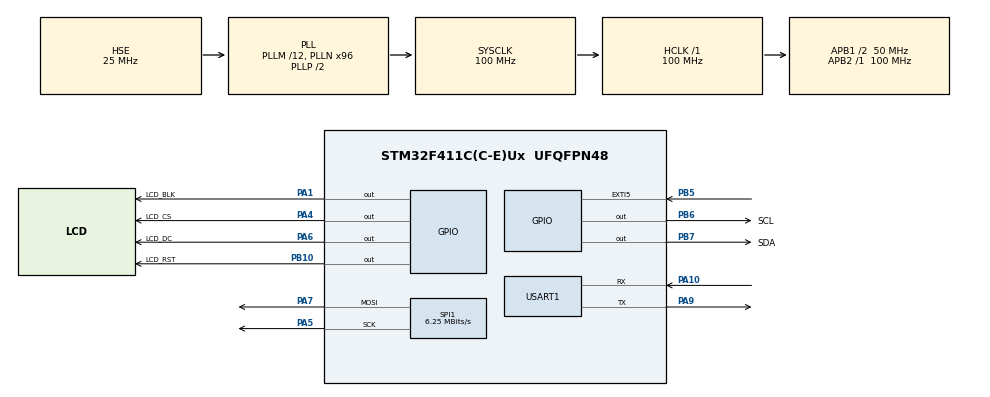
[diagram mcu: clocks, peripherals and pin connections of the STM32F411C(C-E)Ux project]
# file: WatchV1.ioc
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Dma.Request0=USART1_RX
Dma.USART1_RX.0.Direction=DMA_PERIPH_TO_MEMORY
Dma.USART1_RX.0.FIFOMode=DMA_FIFOMODE_DISABLE
Dma.USART1_RX.0.Instance=DMA2_Stream2
Dma.USART1_RX.0.MemDataAlignment=DMA_MDATAALIGN_BYTE
Dma.USART1_RX.0.MemInc=DMA_MINC_ENABLE
Dma.USART1_RX.0.Mode=DMA_CIRCULAR
Dma.USART1_RX.0.PeriphDataAlignment=DMA_PDATAALIGN_BYTE
Dma.USART1_RX.0.PeriphInc=DMA_PINC_DISABLE
Dma.USART1_RX.0.Priority=DMA_PRIORITY_LOW
FREERTOS.Tasks01=defaultTask,24,128,StartDefaultTask,Default,NULL,Dynamic,NULL,NULL
Mcu.Family=STM32F4
Mcu.Name=STM32F411C(C-E)Ux
Mcu.Package=UFQFPN48
NVIC.DMA2_Stream2_IRQn=true\:5\:0\:false\:false\:true\:true\:false\:true\:true
NVIC.EXTI9_5_IRQn=true\:5\:0\:true\:false\:true\:true\:true\:true\:true
NVIC.PriorityGroup=NVIC_PRIORITYGROUP_4
NVIC.TIM1_UP_TIM10_IRQn=true\:15\:0\:false\:false\:true\:false\:false\:true\:true
NVIC.TimeBase=TIM1_UP_TIM10_IRQn
NVIC.TimeBaseIP=TIM1
NVIC.USART1_IRQn=true\:5\:0\:false\:false\:true\:true\:true\:true\:true
PA1.GPIO_Label=LCD_BLK
PA1.Signal=GPIO_Output
PA10.Mode=Asynchronous
PA10.Signal=USART1_RX
PA13.Mode=Serial_Wire
PA13.Signal=SYS_JTMS-SWDIO
PA14.Mode=Serial_Wire
PA14.Signal=SYS_JTCK-SWCLK
PA4.GPIO_Label=LCD_CS
PA4.GPIO_Speed=GPIO_SPEED_FREQ_VERY_HIGH
PA4.PinState=GPIO_PIN_SET
PA4.Signal=GPIO_Output
PA5.Mode=TX_Only_Simplex_Unidirect_Master
PA5.Signal=SPI1_SCK
PA6.GPIO_Label=LCD_DC
PA6.GPIO_Speed=GPIO_SPEED_FREQ_VERY_HIGH
PA6.Signal=GPIO_Output
PA7.Mode=TX_Only_Simplex_Unidirect_Master
PA7.Signal=SPI1_MOSI
PA9.Mode=Asynchronous
PA9.Signal=USART1_TX
PB10.GPIO_Label=LCD_RST
PB10.GPIO_ModeDefaultOutputPP=GPIO_MODE_OUTPUT_PP
PB10.GPIO_PuPd=GPIO_NOPULL
PB10.GPIO_Speed=GPIO_SPEED_FREQ_VERY_HIGH
PB10.PinState=GPIO_PIN_SET
PB10.Signal=GPIO_Output
PB5.GPIO_ModeDefaultEXTI=GPIO_MODE_IT_RISING
PB5.Signal=GPXTI5
PB6.GPIO_Label=SCL
PB6.GPIO_ModeDefaultOutputPP=GPIO_MODE_OUTPUT_OD
PB6.GPIO_PuPd=GPIO_PULLUP
PB6.GPIO_Speed=GPIO_SPEED_FREQ_HIGH
PB6.PinState=GPIO_PIN_SET
PB6.Signal=GPIO_Output
PB7.GPIO_Label=SDA
PB7.GPIO_ModeDefaultOutputPP=GPIO_MODE_OUTPUT_OD
PB7.GPIO_PuPd=GPIO_PULLUP
PB7.GPIO_Speed=GPIO_SPEED_FREQ_HIGH
PB7.PinState=GPIO_PIN_SET
PB7.Signal=GPIO_Output
PH0\ -\ OSC_IN.Mode=HSE-External-Oscillator
PH0\ -\ OSC_IN.Signal=RCC_OSC_IN
PH1\ -\ OSC_OUT.Mode=HSE-External-Oscillator
PH1\ -\ OSC_OUT.Signal=RCC_OSC_OUT
ProjectManager.HeapSize=0x200
ProjectManager.StackSize=0x400
ProjectManager.TargetToolchain=MDK-ARM V5.32
RCC.48MHZClocksFreq_Value=50000000
RCC.AHBFreq_Value=100000000
RCC.APB1CLKDivider=RCC_HCLK_DIV2
RCC.APB1Freq_Value=50000000
RCC.APB1TimFreq_Value=100000000
RCC.APB2Freq_Value=100000000
RCC.APB2TimFreq_Value=100000000
RCC.CortexFreq_Value=100000000
RCC.HCLKFreq_Value=100000000
RCC.HSE_VALUE=25000000
RCC.HSI_VALUE=16000000
RCC.LSE_VALUE=32768
RCC.PLLM=12
RCC.PLLN=96
RCC.PLLSourceVirtual=RCC_PLLSOURCE_HSE
RCC.SYSCLKFreq_VALUE=100000000
RCC.SYSCLKSource=RCC_SYSCLKSOURCE_PLLCLK
RCC.VCOOutputFreq_Value=200000000
SPI1.BaudRatePrescaler=SPI_BAUDRATEPRESCALER_16
SPI1.CLKPhase=SPI_PHASE_2EDGE
SPI1.CLKPolarity=SPI_POLARITY_HIGH
SPI1.CalculateBaudRate=6.25 MBits/s
SPI1.Direction=SPI_DIRECTION_2LINES
SPI1.Mode=SPI_MODE_MASTER
SPI1.VirtualType=VM_MASTER
USART1.VirtualMode=VM_ASYNC
VP_FREERTOS_VS_CMSIS_V2.Mode=CMSIS_V2
VP_SYS_VS_tim1.Mode=TIM1
board=custom

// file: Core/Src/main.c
/* USER CODE BEGIN Header */
/**
  ******************************************************************************
  * @file           : main.c
  * @brief          : Main program body
  ******************************************************************************
  * @attention
  *
  * Copyright (c) 2026 STMicroelectronics.
  * All rights reserved.
  *
  * This software is licensed under terms that can be found in the LICENSE file
  * in the root directory of this software component.
  * If no LICENSE file comes with this software, it is provided AS-IS.
  *
  ******************************************************************************
  */
/* USER CODE END Header */
#include "main.h"
#include "cmsis_os.h"
#include "dma.h"
#include "spi.h"
#include "usart.h"
#include "gpio.h"

/* USER CODE BEGIN Includes */
#include "SEGGER_RTT.h"
#include <stdio.h>
#include "lcd.h"
#include "aht21.h"
#include "soft_i2c.h"
#include "aht21_handler.h"
#include "mpu6050.h"
#include "mpu6050_handler.h"

/* USER CODE END Includes */

/* USER CODE BEGIN PD */
#define MPU6050_ADDR7              0x68
/* USER CODE END PD */

void SystemClock_Config(void);
void MX_FREERTOS_Init(void);

/* USER CODE BEGIN 0 */
/* 打印一次温湿度：RTT 不支持 %f → ×10 拆整数（这是【显示层】的活儿）
 * tag：数据新鲜度标注 —— "" = 新鲜；" [stale]" = 用的是上次缓存 */
//static void print_temp_humi(float t, float h, const char *tag)
//{

//	int32_t h_x10 = (int32_t)(h * 10.0f);
//		int32_t t_x10 = (int32_t)(t * 10.0f);
//		int32_t t_abs = (t_x10 < 0) ? -t_x10 : t_x10;      /* 负数单独取符号 */
//
//	SEGGER_RTT_printf(0, "H = %d.%d %%   T = %s%d.%d C%s\r\n",
//						h_x10 / 10, h_x10 % 10,
//							(t_x10 < 0) ? "-" : "", t_abs / 10, t_abs % 10,
//              tag);
//}
/* ── MPU6050 显示层（RTT 没有 %f，浮点要自己拆）────────────────── */

/* 把一个 float 按 ×10 打成 "名字=±整数.小数"
 *   套路同 W4：先取绝对值再拆，符号单独打（负数 % 在 C 里是负数） */
static void rtt_print_f10(const char *name, float v)
{
    int32_t x10 = (int32_t)(v * 10.0f);
    int32_t a   = (x10 < 0) ? -x10 : x10;

    SEGGER_RTT_printf(0, "%s=%s%d.%d ", name,
                      (x10 < 0) ? "-" : "", (int)(a / 10), (int)(a % 10));
}

/* 打印一次 6 轴 + 温度：raw 与换算值都打
 *   raw 用 %d 直接打 —— 它是核对"地址自增"和"量程配对"的原始证据
 * tag：数据新鲜度标注 —— "" = 新鲜；" [stale]" = 用的是上次缓存 */
static void print_mpu6050(const mpu6050_data_t *d, const char *tag)
{
    SEGGER_RTT_printf(0, "RAW  ax=%6d ay=%6d az=%6d temp=%6d gx=%6d gy=%6d gz=%6d\r\n",
                      d->raw.ax, d->raw.ay, d->raw.az, d->raw.temp,
                      d->raw.gx, d->raw.gy, d->raw.gz);

    SEGGER_RTT_printf(0, "CONV ");
    rtt_print_f10("ax",   d->conv.ax_g);
    rtt_print_f10("ay",   d->conv.ay_g);
    rtt_print_f10("az",   d->conv.az_g);
    rtt_print_f10("temp", d->conv.temp_c);
    rtt_print_f10("gx",   d->conv.gx_dps);
    rtt_print_f10("gy",   d->conv.gy_dps);
    rtt_print_f10("gz",   d->conv.gz_dps);
    SEGGER_RTT_printf(0, "%s\r\n", tag);
}

/* USER CODE END 0 */

int main(void)
{

  /* MCU Configuration--------------------------------------------------------*/

  /* Reset of all peripherals, Initializes the Flash interface and the Systick. */
  HAL_Init();

  /* Configure the system clock */
  SystemClock_Config();

  /* Initialize all configured peripherals */
  MX_GPIO_Init();
  MX_DMA_Init();
  MX_USART1_UART_Init();
  MX_SPI1_Init();
  /* USER CODE BEGIN 2 */
  i2c_gpio_init();         /* ⚠️ 必须留在 USER CODE 区：把 PB7/PB8  覆盖成开漏（放生成区会被 CubeMX 删掉） */

  SEGGER_RTT_Init();                            /* 先把日志起起来（下面才好打） */
  SEGGER_RTT_printf(0, "--- boot ---\r\n");

  mpu6050_handler_set_delay(HAL_Delay);      /* ← 把平台的延时接给 handler */

  /* MPU6050 上电初始化 —— 【开机只做一次】
   *   ⚠️ 它内部会复位器件 ⇒ 放进主循环 = 每秒把器件打回睡眠
   *   失败要打【错误码】：1=NACK（总线不通） 2=ID 不符（不是 6050） 3=BUSY（复位没等到） */
  mpu6050_err_t init_ret = mpu6050_init();
  if (init_ret != MPU6050_OK)
  {
    SEGGER_RTT_printf(0, "MPU6050 init fail = %d\r\n", init_ret);
  }

  mpu6050_data_t mpu;      /* 出参实例：栈上开一次，主循环里反复复用 */

  /* 打印限流用（放 while 外面 —— 放循环体里每次都"看起来"重置，骗读代码的人）*/
  static uint32_t last_print_ms = 0;

  /*  I2C器件扫描   */
  uint8_t found[8];
  uint8_t n = i2c_scan(found, sizeof(found));

  SEGGER_RTT_printf(0, "[SCAN] scanned 0x%02X~0x%02X, found %d\r\n",
                    I2C_ADDR7_SCAN_MIN, I2C_ADDR7_SCAN_MAX, (int)n);
  for (uint8_t i = 0; i < n && i < sizeof(found); i++)
  {
    SEGGER_RTT_printf(0, "[SCAN] found 0x%02X\r\n", found[i]);
  }

//  I2C_Scan();
//  uint8_t val = 0xA5;
//  uint8_t rd  = 0x00;
//  HAL_I2C_Mem_Write(&hi2c1, 0xA0, 0x00, I2C_MEMADD_SIZE_8BIT, &val, 1, 100);
//  HAL_Delay(10);
//  HAL_I2C_Mem_Read(&hi2c1, 0xA0, 0x00, I2C_MEMADD_SIZE_8BIT, &rd, 1, 100);

//  SEGGER_RTT_printf(0, "EEPROM write=0x%02X read=0x%02X -> %s\r\n",
//                  val, rd, (rd == val) ? "OK" : "FAIL");

//    /* ---- W1 块 2：点亮屏 ---- */
  LCD_Init();                                            /* ③ 屏初始化 */
  SEGGER_RTT_printf(0, "LCD init done\r\n");

  LCD_Backlight(1);                                      /* ④ 背光开启 */
  /* ⑤ 显示已交给 LVGL（2026-11-16 起）：
     界面在 freertos.c 的 StartLvglTask 里建，这里只保留"硬件准备好"这一步。
     原来的四色轮播 + DrawString 冒烟测试已删除——它们会和 LVGL 抢屏。
     底层冒烟手段仍在：LCD_FillScreen / LCD_DrawString / LCD_BlitArea 都还能单独调。 */
  /* USER CODE END 2 */

  /* Init scheduler */
  osKernelInitialize();

  /* Call init function for freertos objects (in cmsis_os2.c) */
  MX_FREERTOS_Init();

  /* Start scheduler */
  osKernelStart();

  /* We should never get here as control is now taken by the scheduler */

  /* Infinite loop */
  while (1)
  {

    /* USER CODE BEGIN 3 */
      /* 中断驱动：有新数据才读（标志由 HAL_GPIO_EXTI_Callback → notify() 置）
       *   没新数据      → H_NO_DATA 不读、不打，立刻下一圈
       *   正常          → H_OK      新鲜数据，照打
       *   连续失败 < 5  → H_STALE   给上次缓存，标注 [stale]
       *   连续失败 ≥ 5  → H_OFFLINE 旧数据已撤，明确报失联
       *   参数错        → H_PARAM   （本处不会触发） */
      // mpu6050_handler_status_t hs = mpu6050_handler_read_if_new(&mpu);

      // if (MPU6050_H_NO_DATA == hs)
      // {
      //   continue;                       /* ← 最常走的路：没新数据 */
      // }

      // /* 打印限流：中断 100Hz，不能每次打（否则 1 秒 100 行刷屏）
      //  *   ⚠️ 只拦"打印"，不拦"读" —— 若让主循环变慢，标志又会恒为 1 ⇒ 退回轮询 */
      // if ((HAL_GetTick() - last_print_ms) < 200)
      // {
      //   continue;
      // }
      // last_print_ms = HAL_GetTick();

      // switch (hs)
      // {
      //   case MPU6050_H_OK:
      //     print_mpu6050(&mpu, "");
      //     break;

      //   case MPU6050_H_STALE:
      //     print_mpu6050(&mpu, " [stale]");
      //     break;

      //   case MPU6050_H_OFFLINE:
      //     SEGGER_RTT_printf(0, "MPU6050 OFFLINE\r\n");
      //     break;

      //   case MPU6050_H_PARAM:
      //     SEGGER_RTT_printf(0, "MPU6050 param error\r\n");
      //     break;

      //   default:
      //     break;
      // }

	    // hs = aht21_handler_read(&t, &h);

	    // switch (hs)
	    // {
	    // 	case AHT21_H_OK:
	    // 		/* 新鲜数据：照老样子打印 */
	    // 	print_temp_humi(t, h, "");          /* 新鲜数据 */
	    // 		break;

	    // 	case AHT21_H_STALE:
	    // 		/* 旧数据：数据照样打，后面加个标记 */
	    // 		/* 旧数据：照打，只多一个 [stale] 标注 */
	    // 	print_temp_humi(t, h, " [stale]");  /* 这次没读到 → 给的是上次缓存 */
	    // 		break;

	    // 	case AHT21_H_OFFLINE:
	    // 		SEGGER_RTT_printf(0, "AHT21 OFFLINE\r\n");
	    // 		break;

	    // 	case AHT21_H_PARAM:
	    // 		SEGGER_RTT_printf(0, "AHT21 param error\r\n");
	    // 		break;

	    // 	default:
	    // 		break;
	    // }

  }

  /* USER CODE END 3 */
}

void SystemClock_Config(void)
{
  RCC_OscInitTypeDef RCC_OscInitStruct = {0};
  RCC_ClkInitTypeDef RCC_ClkInitStruct = {0};

  /** Configure the main internal regulator output voltage
  */
  __HAL_RCC_PWR_CLK_ENABLE();
  __HAL_PWR_VOLTAGESCALING_CONFIG(PWR_REGULATOR_VOLTAGE_SCALE1);

  /** Initializes the RCC Oscillators according to the specified parameters
  * in the RCC_OscInitTypeDef structure.
  */
  RCC_OscInitStruct.OscillatorType = RCC_OSCILLATORTYPE_HSE;
  RCC_OscInitStruct.HSEState = RCC_HSE_ON;
  RCC_OscInitStruct.PLL.PLLState = RCC_PLL_ON;
  RCC_OscInitStruct.PLL.PLLSource = RCC_PLLSOURCE_HSE;
  RCC_OscInitStruct.PLL.PLLM = 12;
  RCC_OscInitStruct.PLL.PLLN = 96;
  RCC_OscInitStruct.PLL.PLLP = RCC_PLLP_DIV2;
  RCC_OscInitStruct.PLL.PLLQ = 4;
  if (HAL_RCC_OscConfig(&RCC_OscInitStruct) != HAL_OK)
  {
    Error_Handler();
  }

  /** Initializes the CPU, AHB and APB buses clocks
  */
  RCC_ClkInitStruct.ClockType = RCC_CLOCKTYPE_HCLK|RCC_CLOCKTYPE_SYSCLK
                              |RCC_CLOCKTYPE_PCLK1|RCC_CLOCKTYPE_PCLK2;
  RCC_ClkInitStruct.SYSCLKSource = RCC_SYSCLKSOURCE_PLLCLK;
  RCC_ClkInitStruct.AHBCLKDivider = RCC_SYSCLK_DIV1;
  RCC_ClkInitStruct.APB1CLKDivider = RCC_HCLK_DIV2;
  RCC_ClkInitStruct.APB2CLKDivider = RCC_HCLK_DIV1;

  if (HAL_RCC_ClockConfig(&RCC_ClkInitStruct, FLASH_LATENCY_3) != HAL_OK)
  {
    Error_Handler();
  }
}

/* USER CODE BEGIN 4 */
void HAL_GPIO_EXTI_Callback(uint16_t GPIO_Pin)
{
    if (GPIO_Pin == GPIO_PIN_5)
    {
      mpu6050_handler_notify();
    }
}
/* USER CODE END 4 */

void HAL_TIM_PeriodElapsedCallback(TIM_HandleTypeDef *htim)
{
  if (htim->Instance == TIM1)
  {
    HAL_IncTick();
  }
}

void Error_Handler(void)
{
  __disable_irq();
  while (1)
  {
  }
}

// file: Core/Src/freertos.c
/* USER CODE BEGIN Header */
/**
  ******************************************************************************
  * File Name          : freertos.c
  * Description        : Code for freertos applications
  ******************************************************************************
  * @attention
  *
  * Copyright (c) 2026 STMicroelectronics.
  * All rights reserved.
  *
  * This software is licensed under terms that can be found in the LICENSE file
  * in the root directory of this software component.
  * If no LICENSE file comes with this software, it is provided AS-IS.
  *
  ******************************************************************************
  */
/* USER CODE END Header */

#include "FreeRTOS.h"
#include "task.h"
#include "main.h"
#include "cmsis_os.h"

/* USER CODE BEGIN Includes */
#include "SEGGER_RTT.h"
#include "aht21.h"
#include "aht21_handler.h"
#include "mpu6050.h"
#include "mpu6050_handler.h"
#include "soft_i2c.h"
#include "usart.h"
#include "frame.h"
#include "string.h"
#include "queue.h"
#include "lvgl.h"            /* LVGL：显示 + 控件 */
#include "lv_port_disp.h"    /* 显示移植层：flush_cb / 注册显示设备 */
/* USER CODE END Includes */

/* USER CODE BEGIN PTD */

/* ═══ 设备表（W9 第 4 步）════════════════════════════════════════════════
 * 目的：加一个器件 = 表里加一行 + 写一个"读一次"函数；任务代码 diff = 0。
 * 约束：表项的 read() 必须【不阻塞】——否则会拖慢同一张表里的其他器件。
 * ═══════════════════════════════════════════════════════════════════ */
typedef enum {
    DEV_OK  = 0,     /* 这次读到了   */
    DEV_ERR,         /* 这次没读到   */
} dev_result_t;

/* "读一次"。判据：里面不许 vTaskDelay / HAL_Delay / 长时间等锁。 */
typedef dev_result_t (*dev_read_fn)(void *ctx);

typedef struct {
    const char *name;       /* 调试用：日志里认得出是谁          */
    uint32_t    period_ms;  /* 采样周期                          */
    uint32_t    next_due;   /* 下次到期的【绝对时刻】(tick)       */
    uint16_t    fail_cnt;   /* 这一项连续出错次数（0 = 正常） */
    dev_read_fn read;       /* 读一次（非阻塞）                   */
    void       *ctx;        /* 该器件自己的出参缓冲/状态           */
} dev_item_t;
/* USER CODE END PTD */

/* USER CODE BEGIN PD */

/* W9 撞车实验脚手架已于 2026-11-13 清理：
 *   实验开关 W9_RUN_MPU_TASK / 探针地址 MPU_PROBE_ADDR7 / WHO_AM_I 期望值 /
 *   耗时门限 MPU_SLOW_US —— 随 Mpu6050Task 一起删除，证据已留档在
 *   teaching/progress.md（T=1499 → 243）与 W9任务-学习笔记.md。 */

/* USER CODE END PD */

/* USER CODE BEGIN Variables */
TaskHandle_t aht21TaskHandle = NULL;   /* Aht21Task 句柄（动态创建，失败时为 NULL） */
TaskHandle_t rxTaskHandle = NULL;       /* RxTask 句柄（动态创建，失败时为 NULL） */
TaskHandle_t sensorTaskHandle = NULL;
TaskHandle_t lvglTaskHandle = NULL;     /* LvglTask 句柄 */

/* USER CODE END Variables */
/* Definitions for defaultTask */
osThreadId_t defaultTaskHandle;
const osThreadAttr_t defaultTask_attributes = {
  .name = "defaultTask",
  .stack_size = 128 * 4,
  .priority = (osPriority_t) osPriorityNormal,
};

/* USER CODE BEGIN FunctionPrototypes */
static void StartAht21Task(void *argument);
static void StartRxTask(void *argument);
static void StartSensorTask(void *argument);
static void StartLvglTask(void *argument);      /* LVGL 单任务（非线程安全，只能一个任务碰它） */
/* USER CODE END FunctionPrototypes */

void StartDefaultTask(void *argument);

void MX_FREERTOS_Init(void); /* (MISRA C 2004 rule 8.1) */

void MX_FREERTOS_Init(void) {

  /* USER CODE BEGIN RTOS_MUTEX */
  /* add mutexes, ... */
  SEGGER_RTT_printf(0, "bus_lock=%u\r\n", (unsigned)i2c_bus_lock_init());
  /* USER CODE END RTOS_MUTEX */

  /* USER CODE BEGIN RTOS_QUEUES */
  /* 队列在调度器启动前建好：DMA 中断可能早于任何任务首次运行，
   * 句柄为 NULL 时往队列发事件 = 访问空指针。 */
  if (uart_rx_init() != HAL_OK) {
    SEGGER_RTT_printf(0, "[ERR] uart_rx_init failed (heap?)\r\n");
  }
  /* USER CODE END RTOS_QUEUES */

  /* Create the thread(s) */
  /* creation of defaultTask */
  defaultTaskHandle = osThreadNew(StartDefaultTask, NULL, &defaultTask_attributes);

  /* USER CODE BEGIN RTOS_THREADS */
  /* add threads, ... */
  /* ⚠️ defaultTask 的优先级写在 defaultTask_attributes（生成区），不在 USER CODE 段
   *    ⇒ CubeMX 重生成会把 osPriorityIdle 冲回 osPriorityNormal。
   *    重生成后务必检查：.priority 必须仍是 osPriorityIdle（= FreeRTOS 1），否则占位任务会高过 RxTask/Aht21Task。 */

  BaseType_t ret = xTaskCreate(StartAht21Task,       /* ① 任务函数                     */
                               "Aht21Task",          /* ② 任务名（调试用）              */
                               256,                   /* ③ 栈大小 = 256 word = 1KB      */
                               NULL,                  /* ④ 传给任务函数的参数            */
                               tskIDLE_PRIORITY + 3,  /* ⑤ 优先级 = 空闲任务优先级 + 3 .数字越大越高，< 56  */
                               &aht21TaskHandle);    /* ⑥ 返回任务句柄                 */
  if (ret != pdPASS) {
    SEGGER_RTT_printf(0, "[ERR] Aht21Task create failed, ret=%d\r\n", (int)ret);
  }

  BaseType_t ret2 = xTaskCreate(StartRxTask,
                               "RxTask",
                               256,
                               NULL,
                               tskIDLE_PRIORITY + 4,
                               &rxTaskHandle);
   if (ret2 != pdPASS) {
    SEGGER_RTT_printf(0, "[ERR] RxTask create failed, ret2=%d\r\n", (int)ret2);
  }

  BaseType_t ret4 = xTaskCreate(StartSensorTask,
                               "SensorTask",
                               256,
                               NULL,
                               tskIDLE_PRIORITY + 4,
                               &sensorTaskHandle);
   if (ret4 != pdPASS) {
    SEGGER_RTT_printf(0, "[ERR] SensorTask create failed, ret4=%d\r\n", (int)ret4);
  }

  /* LVGL 任务：优先级给中档——它不是硬实时，但刷新太慢会看出卡顿。
     栈给 512 word（2 KB）：LVGL 里控件创建/绘图有较深的调用链。 */
  BaseType_t ret5 = xTaskCreate(StartLvglTask,
                               "LvglTask",
                               512,
                               NULL,
                               tskIDLE_PRIORITY + 2,
                               &lvglTaskHandle);
   if (ret5 != pdPASS) {
    SEGGER_RTT_printf(0, "[ERR] LvglTask create failed, ret5=%d\r\n", (int)ret5);
  }
  /* USER CODE END RTOS_THREADS */

}

void StartDefaultTask(void *argument)
{
  /* USER CODE BEGIN StartDefaultTask */
  (void)argument;

  /* CubeMX 要求至少保留一个任务，本任务只占位，不承担业务。
   * ⚠️ 两条硬约束：
   *   1) 任务函数永不 return（返回会跳 prvTaskExitError 停机）⇒ 必须 for(;;)
   *   2) 不要在这里碰 uart_rx_*：环的读指针只能有一个消费者（StartRxTask） */
  for(;;)
  {
    osDelay(1000);
  }
  /* USER CODE END StartDefaultTask */
}

/* USER CODE BEGIN Application */

/* ── 器件上下文：每个器件一块自己的出参缓冲 ─────────────────────────── */
static mpu6050_data_t s_mpu_ctx;

/* ── 适配：把"裸驱动的返回值"翻译成表能看懂的 DEV_OK / DEV_ERR ─────── */
static dev_result_t MpuAdapterRead(void *ctx)
{
    mpu6050_data_t *d = (mpu6050_data_t *)ctx;
    return (MPU6050_OK == mpu6050_read(d)) ? DEV_OK : DEV_ERR;
}

/* ── 设备表：加器件就加一行 ────────────────────────────────────────── */
static dev_item_t s_dev_table[] = {
    /* name        period_ms   next_due   fail_cnt      read             ctx        */
    {  "mpu6050",   20,         0,         0,          MpuAdapterRead,  &s_mpu_ctx  },
};

//s_dev_table 的设备项数，由表总字节数除以单个表项字节数自动得出
#define DEV_COUNT   ((uint8_t)(sizeof s_dev_table / sizeof s_dev_table[0]))

/* 查一项的健康状况：找到返回 1，没这个器件返回 0。
 * 判据：按【名字】查，不按表下标 —— 下标会随加行/删行变化，调用方写死下标就脆。
 * 只读，且 fail_cnt 是 16 位对齐 ⇒ 单条指令原子，不需要加锁。
 * ⚠️ 当前【无调用方】：留给验收④（屏/LVGL 显示"传感器离线"）用的接口，别当死代码删。 */
uint8_t SensorFailCount(const char *name, uint16_t *fail_out)
{
  for (uint8_t i = 0; i < DEV_COUNT; i++)
  {
    if(0 == strcmp(s_dev_table[i].name, name))
    {
      if(NULL != fail_out)  {*fail_out = s_dev_table[i].fail_cnt;}
      return 1;
    }
  }
  return 0;
}

/* ── 表驱动采样任务：3 句话，3 个坑 ─────────────────────────────────── */
static void StartSensorTask(void *argument)
{
  (void)argument;

  for(;;)
  {
    uint32_t now = xTaskGetTickCount();
    uint32_t wait = portMAX_DELAY;
    uint8_t i;
    for (i = 0; i < DEV_COUNT; i++)
    {
      dev_item_t *it = &s_dev_table[i];

      if((int32_t)(now - it->next_due) >= 0)    //到期了
      {
        if(NULL != it->read)
        {
          if (DEV_OK != it->read(it->ctx)) { if(it->fail_cnt < UINT16_MAX) it->fail_cnt++; }   /* 记到本人头上 */
          else                             { it->fail_cnt = 0; } /* 成功就清零 */
        }
        it->next_due += it->period_ms;             //累加一个周期
      }
      uint32_t d = it->next_due - now;          //离下次到期还有多久
      if ((int32_t)d < (int32_t)wait) { wait = d; }
    }

    if((int32_t)wait <= 0)  wait = 1;       //已过期：至少睡 1 tick
    vTaskDelay(wait);
  }
}

/* 传感器任务：先初始化一次，然后每 1 s 取一次（handler 内部有缓存，不碰总线以外的逻辑）。
 * 为什么初始化也放这里：aht21.c 内部用 vTaskDelay，调度器启动后才能调。 */
static void StartAht21Task(void *argument)
{
  (void)argument;

  aht21_err_t init_err = aht21_init();
  if (init_err != AHT21_OK)
  {
    SEGGER_RTT_printf(0, "AHT21 init FAIL = %d\r\n", init_err);
    /* 故意不 return：任务函数一旦返回就停机（port.c 的 prvTaskExitError），
     * 且器件坏掉时 handler 会自动降级成 H_OFFLINE，不需要在这里退出。 */
  }

  for(;;)
  {
    float t = 0.0f;
    float h = 0.0f;
    aht21_handler_status_t st = aht21_handler_read(&t,&h);

    /* RTT 的 printf 不支持 %f → 用定点整数（×10） */
    SEGGER_RTT_printf(0, "T=%d H=%d st=%d\r\n",
                      (int)(t * 10.0f), (int)(h * 10.0f), (int)st);

    UBaseType_t hw = uxTaskGetStackHighWaterMark(NULL);   /* NULL = 当前任务 */
    SEGGER_RTT_printf(0, "stack_hw=%u word\r\n", (unsigned)hw);

    vTaskDelay(pdMS_TO_TICKS(1000));
  }
}
/* 栈溢出钩子：覆盖 CMSIS 的 __WEAK 版（cmsis_os2.c）。
 * 打印任务名后关中断停机 —— 便于用 Ozone 接上抓现场，别让它继续踩内存。 */
void vApplicationStackOverflowHook(TaskHandle_t xTask, signed char *pcTaskName)
{
    (void)xTask;
    SEGGER_RTT_printf(0, "\r\n[FATAL] STACK OVERFLOW: %s\r\n", (char *)pcTaskName);
    taskDISABLE_INTERRUPTS();
    for (;;) { }        /* 停在这里，等 Ozone 接上 */
}

static void StartRxTask(void *argument)
{
  (void)argument;
  static uint32_t total = 0;
  static uint8_t out[32];        /* 一帧数据区最大 32 */
  uint32_t last_dump = 0;       /* 记“上次打总账的时刻”（tick）*/

  /* 检查返回值：启动失败时 total 会一直是 0，光看接线找不到原因 */
  HAL_StatusTypeDef rx_st = uart_rx_start();
  if (rx_st != HAL_OK) {
    SEGGER_RTT_printf(0, "[ERR] uart_rx_start st=%d\r\n", (int)rx_st);
  }

  QueueHandle_t q = uart_rx_queue();
  while (NULL == q)                 /* 队列没建好就等 */
  {
    vTaskDelay(pdMS_TO_TICKS(10));
    q = uart_rx_queue();
  }

  for(;;)
  {
    uint16_t evt = 0;       /*evt 只当"叫醒服务"*/
    (void)xQueueReceive(q, &evt, pdMS_TO_TICKS(5));   /* 结果不参与判断 */

      uint32_t prog = 0, okn = 0, guard = 0; //丢掉的字节/成功交付的帧数/死循环保险

      for(;;)
      {
        uint8_t len = 0;
        frame_err_t r = frame_poll(xTaskGetTickCount() * portTICK_PERIOD_MS, out, &len);

        /* 解析一步：等 / 丢 1 字节 / 交整帧 */
        if (r == FRAME_OK)    //收到一帧
        {
          okn ++; total += len;
          // SEGGER_RTT_printf(0, "  FRAME len=%u d0=%02X dlast=%02X\r\n",
          //             len, out[0], len ? out[len-1] : 0);
        }
        else if (r == FRAME_PROGRESS)   {prog ++;}     //有进展，再来一次
        else break;                                    //FRAME_WAIT：没进展，等下次唤醒

        /* 保险：防止环里有垃圾数据，poll 永远进不去 FRAME_WAIT，死循环。 */
        if(++guard > 2000)
        { SEGGER_RTT_printf(0, "[W] poll guard!\r\n"); break; }
      }

      /* 每次唤醒最多一行，避免 RTT 堵塞 */
      if(prog || okn)
      SEGGER_RTT_printf(0, "wake evt=%u prog=%u ok=%u total=%u\r\n",
                          (unsigned)evt, (unsigned)prog, (unsigned)okn, (unsigned)total);

      uint32_t now = xTaskGetTickCount();            /* 每秒一行总账 */
      if ((now - last_dump) >= pdMS_TO_TICKS(1000))
      { last_dump = now; frame_print_counters(); }
  }
}

/* ═══════════════════════════════════════════════════════════════════════
 * LVGL 任务（单任务模型）
 *   · LVGL 不是线程安全的，所以【只有这个任务】能调用 lv_* 系列函数；
 *     别的任务要更新界面，只能写全局变量 / 发队列，由这里自己去取。
 *   · lv_init() 放在任务里而不是 main 里：保证"初始化"和"使用"永远在同一个上下文。
 * ═══════════════════════════════════════════════════════════════════════ */
static void StartLvglTask(void *argument)
{
    lv_obj_t *scr;
    lv_obj_t *label;
    lv_obj_t *label2;
    (void)argument;

    lv_init();                    /* ① LVGL 内核初始化（必须先于一切 lv_* 调用） */
    lv_port_disp_init();          /* ② 注册显示设备：屏幕尺寸 + flush 回调 + 缓冲 */

    /* ③ 最小界面：黑底 + 两行字，用来验证「显示链通了、颜色对了、能刷新」 */
    scr = lv_scr_act();
    lv_obj_set_style_bg_color(scr, lv_color_hex(0x000000), LV_PART_MAIN);
    lv_obj_set_style_bg_opa(scr, LV_OPA_COVER, LV_PART_MAIN);

    label = lv_label_create(scr);
    lv_label_set_text(label, "hello LVGL");
    lv_obj_set_style_text_color(label, lv_color_hex(0xFFFFFF), LV_PART_MAIN);
    lv_obj_align(label, LV_ALIGN_CENTER, 0, -16);

    label2 = lv_label_create(scr);
    lv_label_set_text(label2, "240x280 RGB565");
    lv_obj_set_style_text_color(label2, lv_color_hex(0x00FF00), LV_PART_MAIN);   /* 绿：用来一眼看出颜色对不对 */
    lv_obj_align(label2, LV_ALIGN_CENTER, 0, 16);

    SEGGER_RTT_printf(0, "[LVGL] init done\r\n");

    for (;;) {
        lv_timer_handler();       /* ④ 处理 LVGL 的定时/刷新逻辑，必须周期调用 */
        osDelay(5);               /* 5 ms 一轮：太小空转浪费 CPU，太大动画卡 */
    }
}

/* USER CODE END Application */
